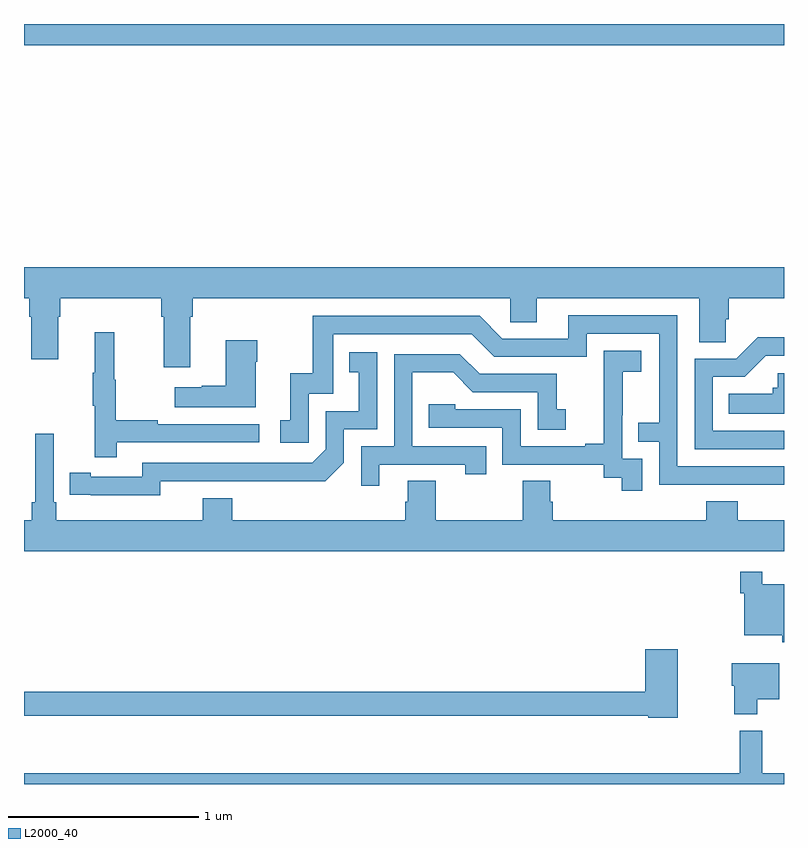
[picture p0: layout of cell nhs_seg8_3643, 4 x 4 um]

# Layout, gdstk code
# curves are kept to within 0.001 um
import gdstk
lib = gdstk.Library(unit=1e-6, precision=1e-09)
def R(c, l, rs):  # rectangles x0, y0, x1, y1
    for r in rs: c.add(gdstk.rectangle(r[:2], r[2:], *l))
def P(c, l, *ps):  # polygons
    for p in ps: c.add(gdstk.Polygon(p, *l))
L2000_40 = (2000, 40)

nhs_seg8_3643 = lib.new_cell('nhs_seg8_3643')
R(nhs_seg8_3643, L2000_40, [(335,1161.788,339,1161.9)])
P(nhs_seg8_3643, L2000_40, [(335.875,1160.36),(335.888,1160.36),(335.888,1160.456),(337.56,1160.456),(337.56,1160.329),(337.699,1160.329),(337.699,1160.456),(338.555,1160.456),(338.555,1160.224),(338.694,1160.224),(338.694,1160.347),(338.708,1160.347),(338.708,1160.456),(339,1160.456),(339,1160.62),(335,1160.62),(335,1160.456),(335.027,1160.456),(335.027,1160.36),(335.039,1160.36),(335.039,1160.136),(335.179,1160.136),(335.179,1160.36),(335.192,1160.36),(335.192,1160.456),(335.723,1160.456),(335.723,1160.36),(335.735,1160.36),(335.735,1160.094),(335.875,1160.094)],
  [(339,1159.572),(338.439,1159.572),(338.439,1160.367),(337.865,1160.367),(337.865,1160.244),(337.518,1160.244),(337.398,1160.364),(336.519,1160.364),(336.519,1160.062),(336.401,1160.062),(336.401,1159.815),(336.348,1159.815),(336.348,1159.695),(336.498,1159.695),(336.498,1159.953),(336.627,1159.953),(336.627,1160.268),(337.356,1160.268),(337.476,1160.148),(337.962,1160.148),(337.962,1160.271),(338.343,1160.271),(338.343,1159.802),(338.233,1159.802),(338.233,1159.701),(338.343,1159.701),(338.343,1159.476),(339,1159.475)],
  [(335.489,1159.698),(336.238,1159.698),(336.238,1159.794),(335.705,1159.794),(335.705,1159.814),(335.482,1159.814),(335.482,1160.028),(335.474,1160.028),(335.474,1160.278),(335.372,1160.278),(335.372,1160.065),(335.361,1160.065),(335.361,1159.891),(335.372,1159.891),(335.372,1159.62),(335.489,1159.62)],
  [(339,1159.758),(338.625,1159.758),(338.625,1160.043),(338.794,1160.043),(338.905,1160.154),(339,1160.154),(339,1160.252),(338.861,1160.252),(338.748,1160.139),(338.529,1160.139),(338.529,1159.662),(339,1159.662)],
  [(336.22,1160.123),(336.228,1160.123),(336.228,1160.236),(336.062,1160.236),(336.062,1159.997),(335.936,1159.997),(335.936,1159.987),(335.793,1159.987),(335.793,1159.883),(336.22,1159.883)],
  [(338.253,1159.611),(338.148,1159.611),(338.148,1159.841),(338.15,1159.841),(338.15,1160.069),(338.248,1160.069),(338.248,1160.179),(338.05,1160.179),(338.05,1159.973),(338.051,1159.973),(338.051,1159.69),(337.955,1159.69),(337.955,1159.677),(337.614,1159.677),(337.614,1159.872),(337.269,1159.872),(337.269,1159.899),(337.129,1159.899),(337.129,1159.776),(337.518,1159.776),(337.518,1159.581),(338.052,1159.581),(338.052,1159.513),(338.145,1159.513),(338.145,1159.443),(338.253,1159.443)],
  [(335.718,1159.494),(336.586,1159.493),(336.684,1159.59),(336.684,1159.767),(336.858,1159.767),(336.858,1160.173),(336.712,1160.173),(336.712,1160.067),(336.761,1160.067),(336.761,1159.863),(336.588,1159.863),(336.588,1159.662),(336.516,1159.59),(335.622,1159.59),(335.622,1159.518),(335.35,1159.518),(335.35,1159.538),(335.242,1159.538),(335.242,1159.422),(335.718,1159.421)],
  [(336.871,1159.581),(337.322,1159.581),(337.322,1159.53),(337.433,1159.53),(337.433,1159.677),(337.044,1159.677),(337.044,1160.066),(337.258,1160.066),(337.362,1159.962),(337.704,1159.962),(337.704,1159.764),(337.852,1159.764),(337.852,1159.873),(337.803,1159.873),(337.803,1160.058),(337.399,1160.058),(337.294,1160.163),(336.948,1160.163),(336.948,1159.677),(336.774,1159.677),(336.774,1159.47),(336.871,1159.47)],
  [(339,1160.062),(338.967,1160.062),(338.967,1159.986),(338.941,1159.986),(338.941,1159.954),(338.71,1159.954),(338.71,1159.85),(339,1159.85)],
  [(339,1159.288),(338.756,1159.288),(338.756,1159.387),(338.591,1159.387),(338.591,1159.288),(337.784,1159.288),(337.784,1159.386),(337.771,1159.386),(337.771,1159.496),(337.624,1159.496),(337.624,1159.288),(337.167,1159.288),(337.167,1159.496),(337.019,1159.496),(337.019,1159.386),(337.007,1159.386),(337.007,1159.288),(336.095,1159.288),(336.095,1159.405),(335.942,1159.405),(335.942,1159.288),(335.171,1159.288),(335.171,1159.384),(335.157,1159.384),(335.157,1159.744),(335.06,1159.744),(335.06,1159.384),(335.041,1159.384),(335.041,1159.288),(335,1159.288),(335,1159.124),(339,1159.124)],
  [(339,1158.952),(338.886,1158.952),(338.886,1159.018),(338.77,1159.018),(338.77,1158.905),(338.79,1158.905),(338.79,1158.683),(338.99,1158.683),(338.99,1158.647),(339,1158.647)],
  [(338.44,1158.61),(338.27,1158.61),(338.27,1158.386),(335,1158.386),(335,1158.258),(338.286,1158.258),(338.286,1158.25),(338.44,1158.25)],
  [(338.86,1158.347),(338.974,1158.347),(338.974,1158.535),(338.726,1158.535),(338.726,1158.417),(338.738,1158.417),(338.738,1158.266),(338.86,1158.266)],
  [(339,1157.956),(338.885,1157.956),(338.885,1158.181),(338.767,1158.181),(338.767,1157.956),(335,1157.956),(335,1157.9),(339,1157.9)])

lib.write_gds('nhs_seg8_3643.gds')
